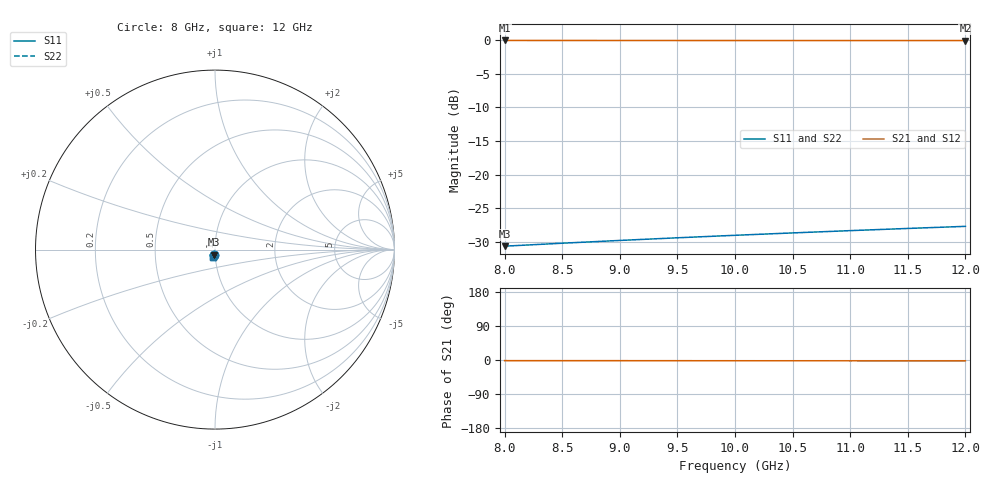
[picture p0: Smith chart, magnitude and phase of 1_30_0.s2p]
! Created Wed Oct 21 16:23:41 2020
# ghz S db R 50
! 2 Port Network Data from SP1.SP block
! freq  dbS11  angS11  dbS21  angS21  dbS12  angS12  dbS22  angS22
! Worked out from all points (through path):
!   9 points, 8 GHz to 12 GHz, reference 50 ohm
!   highest |S21| = -0.05 dB at 8 GHz (marker M1); lowest = -0.1 dB at 12 GHz (marker M2)
!   lowest |S11| = -30.7 dB at 8 GHz (marker M3), VSWR 1.06, Z = 49.3 - j2.83 ohm
!   |S11| at or under -10 dB: start of sweep to end of sweep
!   |S22| runs from -30.7 to -27.7 dB; largest |S21 - S12| = 0
8  -30.66 -102.3  -0.05 -1.7  -0.05 -1.7  -30.66 -102.3
8.5  -30.22 -102.4  -0.05 -1.7  -0.05 -1.7  -30.22 -102.4
9  -29.80 -102.5  -0.06 -1.8  -0.06 -1.8  -29.80 -102.5
9.5  -29.41 -102.5  -0.06 -1.9  -0.06 -1.9  -29.41 -102.5
10  -29.04 -102.6  -0.06 -2.0  -0.06 -2.0  -29.04 -102.6
10.5  -28.68 -102.6  -0.06 -2.1  -0.06 -2.1  -28.68 -102.6
11  -28.35 -102.6  -0.07 -2.2  -0.07 -2.2  -28.35 -102.6
11.5  -28.02 -102.6  -0.07 -2.2  -0.07 -2.2  -28.02 -102.6
12  -27.71 -102.6  -0.07 -2.3  -0.07 -2.3  -27.71 -102.6
